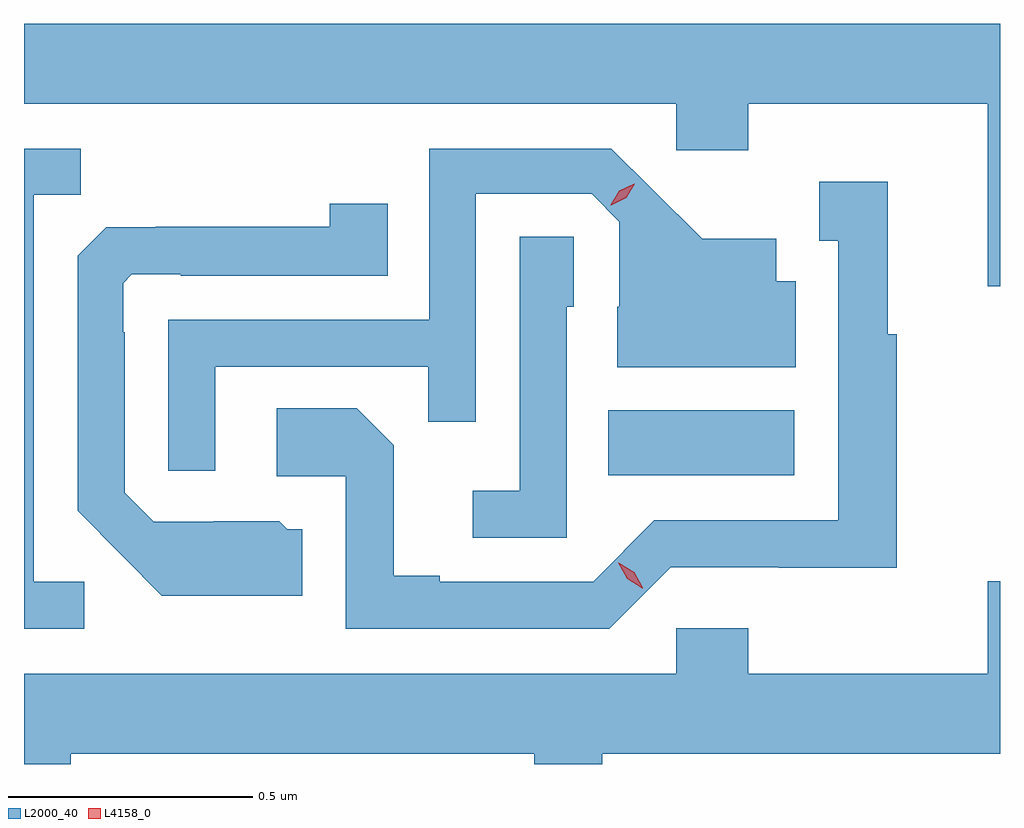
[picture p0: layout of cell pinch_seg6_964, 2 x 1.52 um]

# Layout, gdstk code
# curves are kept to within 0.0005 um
import gdstk
lib = gdstk.Library(unit=1e-6, precision=1e-09)
def R(c, l, rs):  # rectangles x0, y0, x1, y1
    for r in rs: c.add(gdstk.rectangle(r[:2], r[2:], *l))
def P(c, l, *ps):  # polygons
    for p in ps: c.add(gdstk.Polygon(p, *l))
L2000_40 = (2000, 40)
L4158_0 = (4158, 0)

pinch_seg6_964 = lib.new_cell('pinch_seg6_964')
R(pinch_seg6_964, L2000_40, [(344.05,937.25,344.431,937.384)])
P(pinch_seg6_964, L2000_40, [(344.853,938.176),(342.853,938.176),(342.853,938.012),(344.19,938.012),(344.19,937.917),(344.337,937.917),(344.337,938.012),(344.828,938.012),(344.828,937.638),(344.853,937.638)],
  [(342.976,937.032),(342.873,937.032),(342.873,937.825),(342.969,937.825),(342.969,937.92),(342.853,937.92),(342.853,936.936),(342.976,936.936)],
  [(343.245,937.473),(343.681,937.473),(343.681,937.36),(343.779,937.36),(343.779,937.827),(344.016,937.827),(344.073,937.77),(344.073,937.596),(344.069,937.596),(344.069,937.472),(344.434,937.472),(344.434,937.648),(344.395,937.648),(344.395,937.735),(344.243,937.735),(344.056,937.92),(343.683,937.92),(343.683,937.569),(343.149,937.569),(343.149,937.26),(343.245,937.26)],
  [(344.178,937.062),(344.4,937.062),(344.4,937.061),(344.641,937.061),(344.641,937.539),(344.623,937.539),(344.623,937.852),(344.483,937.852),(344.483,937.731),(344.522,937.731),(344.522,937.158),(344.145,937.158),(344.019,937.032),(343.705,937.032),(343.705,937.045),(343.611,937.045),(343.611,937.312),(343.535,937.388),(343.371,937.388),(343.371,937.248),(343.512,937.248),(343.512,936.936),(344.052,936.936)],
  [(343.423,937.14),(343.392,937.14),(343.376,937.156),(343.242,937.156),(343.242,937.155),(343.119,937.155),(343.059,937.215),(343.059,937.544),(343.056,937.544),(343.056,937.644),(343.074,937.662),(343.174,937.662),(343.174,937.659),(343.598,937.659),(343.598,937.807),(343.48,937.807),(343.48,937.76),(343.123,937.76),(343.123,937.759),(343.022,937.759),(342.963,937.7),(342.963,937.178),(343.135,937.004),(343.423,937.004)],
  [(343.965,937.596),(343.98,937.596),(343.98,937.739),(343.869,937.739),(343.869,937.219),(343.773,937.219),(343.773,937.122),(343.965,937.122)],
  [(342.949,936.68),(343.899,936.68),(343.899,936.658),(344.038,936.658),(344.038,936.68),(344.853,936.68),(344.853,937.033),(344.828,937.033),(344.828,936.844),(344.337,936.844),(344.337,936.937),(344.19,936.937),(344.19,936.844),(342.853,936.844),(342.853,936.658),(342.949,936.658)])
P(pinch_seg6_964, L4158_0, [(344.055,937.804),(344.055,937.805),(344.073,937.834),(344.104,937.848),(344.105,937.848),(344.105,937.848),(344.087,937.819),(344.056,937.804)],
  [(344.12,937.019),(344.089,937.038),(344.071,937.071),(344.071,937.071),(344.072,937.071),(344.103,937.052),(344.121,937.02),(344.121,937.019)])

lib.write_gds('pinch_seg6_964.gds')
